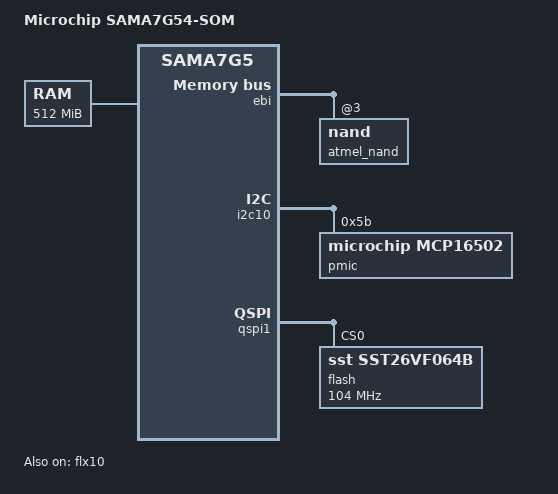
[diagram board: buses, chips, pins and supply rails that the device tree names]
// SPDX-License-Identifier: (GPL-2.0+ OR MIT)
/*
 *  sama7g54_som.dtsi - Device Tree Include file for SAMA7G54 SOM family
 *
 *  Copyright (C) 2025 Microchip Technology, Inc. and its subsidiaries
 *
 *  Author: Romain Sioen <romain.sioen@microchip.com>
 *
 */

#include "sama7g5-pinfunc.h"
#include "sama7g5.dtsi"
#include <dt-bindings/gpio/gpio.h>
#include <dt-bindings/mfd/atmel-flexcom.h>
#include <dt-bindings/mfd/at91-usart.h>
#include <dt-bindings/pinctrl/at91.h>

/ {
	model = "Microchip SAMA7G54-SOM";
	compatible = "microchip,sama7g5", "microchip,sama7";

	clocks {
		slow_xtal {
			clock-frequency = <32768>;
		};

		main_xtal {
			clock-frequency = <24000000>;
		};
	};

	memory@60000000 {
		device_type = "memory";
		reg = <0x60000000 0x20000000>;
	};
};

&ebi {
	pinctrl-names = "default";
	pinctrl-0 = <&pinctrl_nand_default &pinctrl_nand_rb>;
	status = "okay";

	nand_controller: nand-controller {
		status = "okay";

		nand@3 {
			reg = <0x3 0x0 0x800000>;
			atmel,rb = <0>;
			nand-bus-width = <8>;
			nand-ecc-mode = "hw";
			nand-ecc-strength = <8>;
			nand-ecc-step-size = <512>;
			nand-on-flash-bbt;
			label = "atmel_nand";
		};
	};
};

&flx10 {
	atmel,flexcom-mode = <ATMEL_FLEXCOM_MODE_TWI>;
	status = "okay";

	i2c10: i2c@600 {
		dmas = <0>, <0>;
		pinctrl-names = "default";
		pinctrl-0 = <&pinctrl_i2c10_default>;
		i2c-analog-filter;
		i2c-digital-filter;
		i2c-digital-filter-width-ns = <35>;
		status = "okay";

		pmic@5b {
			compatible = "microchip,mcp16502";
			reg = <0x5b>;
		};
	};
};

&pioA {
	pinctrl_i2c10_default: i2c10-default {
		pinmux = <PIN_PC30__FLEXCOM10_IO0>,
			 <PIN_PC31__FLEXCOM10_IO1>;
		bias-disable;
	};

	pinctrl_nand_default: nand-default {
		pinmux = <PIN_PD9__D0>,
			 <PIN_PD10__D1>,
			 <PIN_PD11__D2>,
			 <PIN_PC21__D3>,
			 <PIN_PC22__D4>,
			 <PIN_PC23__D5>,
			 <PIN_PC24__D6>,
			 <PIN_PD2__D7>,
			 <PIN_PD4__NCS3_NANDCS>,
			 <PIN_PD5__NWE_NWR0_NANDWE>,
			 <PIN_PD6__NRD_NANDOE>,
			 <PIN_PD7__A21_NANDALE>,
			 <PIN_PD8__A22_NANDCLE>;
		slew-rate = <0>;
		atmel,drive-strength = <ATMEL_PIO_DRVSTR_2>;
		bias-disable;
	};

	pinctrl_nand_rb: nand-rb {
		pinmux = <PIN_PD3__NANDRDY>;
		slew-rate = <0>;
		bias-pull-up;
	};

	pinctrl_qspi1_io3: qspi1-io3 {
		pinmux = <PIN_PB22__QSPI1_IO3>,
			 <PIN_PB23__QSPI1_IO2>;
		bias-pull-up;
		slew-rate = <0>;
	};

	pinctrl_qspi1: qspi1-default {
		pinmux = <PIN_PB24__QSPI1_IO1>,
			 <PIN_PB25__QSPI1_IO0>,
			 <PIN_PB26__QSPI1_CS>,
			 <PIN_PB27__QSPI1_SCK>;
		bias-disable;
		slew-rate = <0>;
	};
};

&qspi1 {
	pinctrl-names = "default";
	pinctrl-0 = <&pinctrl_qspi1 &pinctrl_qspi1_io3>;
	status = "okay";

	flash@0 {
		compatible = "sst,sst26vf064b", "jedec,spi-nor";
		#address-cells = <1>;
		#size-cells = <1>;
		reg = <0>;
		spi-max-frequency = <104000000>;
		spi-cs-setup-ns = /bits/ 16 <7>;
		spi-tx-bus-width = <4>;
		spi-rx-bus-width = <4>;
		m25p,fast-read;
	};
};
